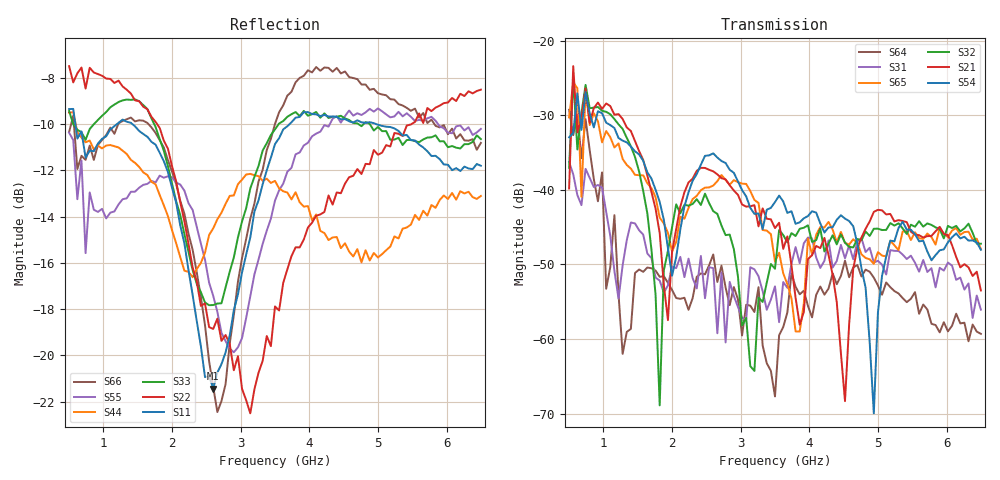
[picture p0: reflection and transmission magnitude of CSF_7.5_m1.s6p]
!Keysight Technologies,M9804A,MY58100912,A.14.10.03
!Date: Thursday, April 27, 2023 10:28:33
!Correction: S11(C  6-Port  )
!S12(C  6-Port  )
!S13(C  6-Port  )
!S14(C  6-Port  )
!S15(C  6-Port  )
!S16(C  6-Port  )
!S21(C  6-Port  )
!S22(C  6-Port  )
!S23(C  6-Port  )
!S24(C  6-Port  )
!S25(C  6-Port  )
!S26(C  6-Port  )
!S31(C  6-Port  )
!S32(C  6-Port  )
!S33(C  6-Port  )
!S34(C  6-Port  )
!S35(C  6-Port  )
!S36(C  6-Port  )
!S41(C  6-Port  )
!S42(C  6-Port  )
!S43(C  6-Port  )
!S44(C  6-Port  )
!S45(C  6-Port  )
!S46(C  6-Port  )
!S51(C  6-Port  )
!S52(C  6-Port  )
!S53(C  6-Port  )
!S54(C  6-Port  )
!S55(C  6-Port  )
!S56(C  6-Port  )
!S61(C  6-Port  )
!S62(C  6-Port  )
!S63(C  6-Port  )
!S64(C  6-Port  )
!S65(C  6-Port  )
!S66(C  6-Port  )
!S6P File: Measurement: :
# Hz S  RI  R 50
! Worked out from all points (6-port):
!   101 points, 500 MHz to 6.5 GHz, reference 50 ohm
!   strongest paths, dB at 500 MHz, 2 GHz, 3.5 GHz, 5 GHz, 6.5 GHz:
!     S54: -33.0, -51.5, -41.6, -56.4, -48.0
!     S21: -39.8, -48.3, -45.1, -42.7, -53.5
!     S32: -37.1, -45.0, -50.6, -45.2, -47.2
!     S65: -30.3, -48.3, -49.6, -48.4, -47.9
!     S31: -36.3, -50.3, -52.9, -49.5, -56.1
!     S64: -29.3, -53.4, -67.7, -52.8, -59.3
!   lowest |S11| = -21.4 dB at 2.6 GHz (marker M1), VSWR 1.19, Z = 42.5 + j2.17 ohm
!   |S11| at or under -10 dB: 590.5 MHz to 1.199 GHz (608.1 MHz wide, 68 % of centre); 1.421 GHz to 3.714 GHz (2.292 GHz wide, 89.3 % of centre); 4.972 GHz to end of sweep
